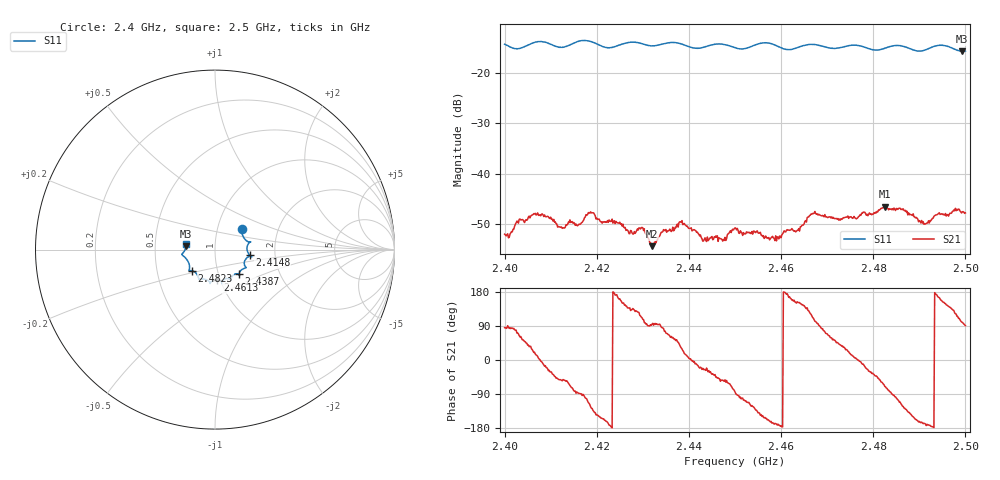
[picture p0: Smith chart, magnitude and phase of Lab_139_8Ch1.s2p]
# Hz S RI R 50
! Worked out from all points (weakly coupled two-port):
!   601 points, 2.4 GHz to 2.5 GHz, reference 50 ohm
!   highest |S21| = -46.51 dB at 2.4825 GHz (marker M1); lowest = -54.3 dB at 2.432 GHz (marker M2)
!   lowest |S11| = -15.8 dB at 2.4993 GHz (marker M3), VSWR 1.39, Z = 36 + j1.31 ohm
!   |S11| at or under -10 dB: start of sweep to end of sweep
!   S12 and S22 are empty: the file has one direction only
!   S11 on the Smith chart (normalised r, x): 2.4 GHz: 1.31, +0.32; 2.4148 GHz: 1.47, -0.10; 2.4387 GHz: 1.25, -0.36; 2.4613 GHz: 0.97, -0.34; 2.4823 GHz: 0.75, -0.18; 2.5 GHz: 0.72, +0.04
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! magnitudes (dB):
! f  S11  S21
! 2.4 GHz  -14.3  -51.9
! 2.4067 GHz  -13.9  -47.8
! 2.4148 GHz  -14.2  -49.7
! 2.4167 GHz  -13.6  -49.7
! 2.419 GHz  -13.9  -47.7
! 2.4275 GHz  -13.9  -51.3
! 2.4298 GHz  -14.2  -50.6
! 2.432 GHz  -14.7  -54.3
! 2.4333 GHz  -14.5  -52.6
! 2.4387 GHz  -14.4  -50.0
! 2.4433 GHz  -14.9  -52.9
! 2.45 GHz  -15.0  -50.7
! 2.4573 GHz  -14.1  -52.6
! 2.4613 GHz  -15.4  -51.0
! 2.4667 GHz  -14.4  -48.0
! 2.476 GHz  -14.5  -48.7
! 2.4823 GHz  -15.2  -46.7
! 2.4825 GHz  -15.1  -46.5
! 2.4833 GHz  -14.9  -47.1
! 2.4912 GHz  -15.5  -49.9
! 2.4993 GHz  -15.8  -47.5
! 2.5 GHz  -15.7  -47.7
